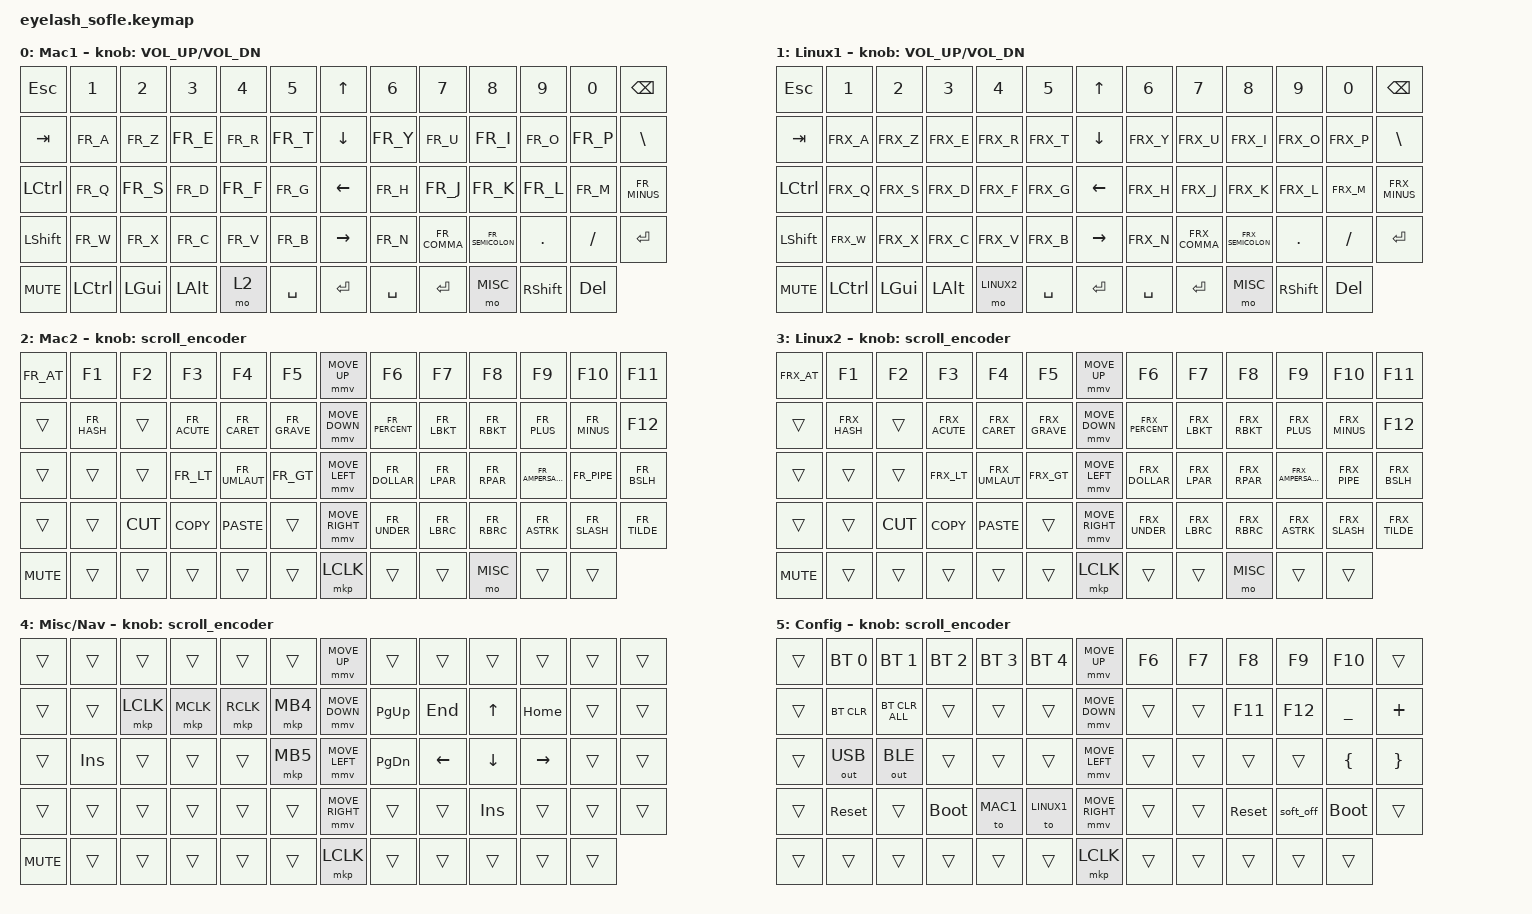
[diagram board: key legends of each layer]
#define ZMK_POINTING_DEFAULT_MOVE_VAL 1200  // 600
#define ZMK_POINTING_DEFAULT_SCRL_VAL 25   // 10

#include "keys_fr_belgian_period_mac.h"
#include "keys_fr_belgian_period_linux.h"
#include <input/processors.dtsi>
#include <zephyr/dt-bindings/input/input-event-codes.h>
#include <behaviors.dtsi>
#include <dt-bindings/zmk/bt.h>
#include <dt-bindings/zmk/keys.h>
#include <dt-bindings/zmk/outputs.h>
#include <dt-bindings/zmk/pointing.h>
#include <dt-bindings/zmk/rgb.h>

&mmv_input_listener { input-processors = <&zip_xy_scaler 2 1>; };

&msc_input_listener { input-processors = <&zip_scroll_scaler 2 1>; };

#define MAC1   0
#define LINUX1 1
#define MAC2   2
#define LINUX2 3
#define MISC   4
#define CONFIG 5

&msc {
    acceleration-exponent = <1>;      // 0
    time-to-max-speed-ms = <100>;       // 300
    delay-ms = <0>;                   // 0
};

&mmv {
    time-to-max-speed-ms = <500>;
    acceleration-exponent = <1>;
    trigger-period-ms = <16>;
};

&soft_off { hold-time-ms = <2000>; };

/ {
    scroll_encoder: scroll_encoder {
        compatible = "zmk,behavior-sensor-rotate";
        #sensor-binding-cells = <0>;
        bindings = <&msc SCRL_DOWN>, <&msc SCRL_UP>;

        tap-ms = <100>;
    };

    behaviors {
    };

    combos {
        compatible = "zmk,combos";

        softoff {
            bindings = <&soft_off>;
            key-positions = <14 28 40>;
        };
    };

    // don't know whyt it's here
    macros {
        SHIFT_MCLK: SHIFT_MCLK {
            compatible = "zmk,behavior-macro";
            #binding-cells = <0>;
            bindings =
                <&macro_press>,
                <&kp LEFT_SHIFT>,
                <&macro_press>,
                <&mkp MB3>,
                <&macro_pause_for_release>,
                <&macro_release>,
                <&kp LEFT_SHIFT &mkp MB3>;

            label = "SHIFT_MCLK";
        };
    };

    // add conditional layers to switch mac to windows/linux
    conditional_layers {
        compatible = "zmk,conditional-layers";

        config_layer_1 {
            if-layers = <MAC2 MISC>;
            then-layer = <CONFIG>;
        };

        config_layer_2 {
            if-layers = <LINUX2 MISC>;
            then-layer = <CONFIG>;
        };
    };

    keymap {
        compatible = "zmk,keymap";

        // ------------------------------------------------------------------------------------------------------------
        // |   @   |  1  |  2  |  3   |  4   |  5   |   *   |  6   |  7    |  8    |  9   |   0   |  BACKSPACE |
        // |  ESC  |  A  |  Z  |  E   |  R   |  T   |   *   |  Y   |  U    |  I    |  O   |   P   |   DELETE   |
        // |  TAB  |  Q  |  S  |  D   |  F   |  G   |   *   |  H   |  J    |  K    |  L   |   M   |     -      |
        // | SHIFT |  W  |  X  |  C   |  V   |  B   |   *   |  N   |  ,    |  ,    |  .   |   /   |   ENTER    |

        mac1 {
            bindings = <
            &kp ESC     &kp N1     &kp N2        &kp N3        &kp N4     &kp N5       &kp UP_ARROW     &kp N6     &kp N7         &kp N8            &kp N9           &kp N0      &kp BACKSPACE
            &kp TAB     &kp FR_A   &kp FR_Z      &kp FR_E      &kp FR_R   &kp FR_T     &kp DOWN_ARROW   &kp FR_Y   &kp FR_U       &kp FR_I          &kp FR_O         &kp FR_P    &kp BSLH
            &kp LCTRL   &kp FR_Q   &kp  FR_S     &kp FR_D      &kp FR_F   &kp FR_G     &kp LEFT_ARROW   &kp FR_H   &kp FR_J       &kp FR_K          &kp FR_L         &kp FR_M    &kp FR_MINUS
            &kp LSHFT   &kp FR_W   &kp FR_X      &kp FR_C      &kp FR_V   &kp FR_B     &kp RIGHT_ARROW  &kp FR_N   &kp FR_COMMA   &kp FR_SEMICOLON  &kp DOT          &kp FSLH    &kp ENTER
            &kp C_MUTE  &kp LCTRL  &kp LEFT_GUI  &kp LEFT_ALT  &mo 2      &kp SPACE    &kp ENTER        &kp SPACE  &kp ENTER      &mo MISC          &kp RIGHT_SHIFT  &kp DELETE
            >;
            
            display-name = "Mac1";
            sensor-bindings = <&inc_dec_kp C_VOLUME_UP C_VOL_DN>;
        };

        linux1 {
            bindings = <
            &kp ESC     &kp N1      &kp N2         &kp N3         &kp N4      &kp N5        &kp UP_ARROW     &kp N6      &kp N7          &kp N8             &kp N9            &kp N0       &kp BACKSPACE
            &kp TAB     &kp FRX_A   &kp FRX_Z      &kp FRX_E      &kp FRX_R   &kp FRX_T     &kp DOWN_ARROW   &kp FRX_Y   &kp FRX_U       &kp FRX_I          &kp FRX_O         &kp FRX_P    &kp BSLH
            &kp LCTRL   &kp FRX_Q   &kp  FRX_S     &kp FRX_D      &kp FRX_F   &kp FRX_G     &kp LEFT_ARROW   &kp FRX_H   &kp FRX_J       &kp FRX_K          &kp FRX_L         &kp FRX_M    &kp FRX_MINUS
            &kp LSHFT   &kp FRX_W   &kp FRX_X      &kp FRX_C      &kp FRX_V   &kp FRX_B     &kp RIGHT_ARROW  &kp FRX_N   &kp FRX_COMMA   &kp FRX_SEMICOLON  &kp DOT           &kp FSLH     &kp ENTER
            &kp C_MUTE  &kp LCTRL   &kp LEFT_GUI   &kp LEFT_ALT   &mo LINUX2  &kp SPACE     &kp ENTER        &kp SPACE   &kp ENTER       &mo MISC           &kp RIGHT_SHIFT   &kp DELETE
            >;
            
            display-name = "Linux1";
            sensor-bindings = <&inc_dec_kp C_VOLUME_UP C_VOL_DN>;
        };

        mac2 {
            bindings = <
            &kp FR_AT   &kp F1       &kp F2     &kp F3        &kp F4         &kp F5        &mmv MOVE_UP     &kp F6          &kp F7       &kp F8       &kp F9            &kp F10       &kp F11
            &trans      &kp FR_HASH  &trans   &kp FR_ACUTE  &kp FR_CARET   &kp FR_GRAVE  &mmv MOVE_DOWN   &kp FR_PERCENT  &kp FR_LBKT  &kp FR_RBKT  &kp FR_PLUS       &kp FR_MINUS  &kp F12
            &trans      &trans       &trans     &kp FR_LT     &kp FR_UMLAUT  &kp FR_GT     &mmv MOVE_LEFT   &kp FR_DOLLAR   &kp FR_LPAR  &kp FR_RPAR  &kp FR_AMPERSAND  &kp FR_PIPE   &kp FR_BSLH
            &trans      &trans       &kp K_CUT  &kp K_COPY    &kp K_PASTE    &trans        &mmv MOVE_RIGHT  &kp FR_UNDER    &kp FR_LBRC  &kp FR_RBRC  &kp FR_ASTRK      &kp FR_SLASH  &kp FR_TILDE
            &kp C_MUTE  &trans       &trans     &trans        &trans         &trans        &mkp LCLK        &trans          &trans       &mo MISC     &trans            &trans
            >;
            
            display-name = "Mac2";
            sensor-bindings = <&scroll_encoder>;
        };

        linux2 {
            bindings = <
            &kp FRX_AT   &kp F1      &kp F2     &kp F3         &kp F4         &kp F5         &mmv MOVE_UP     &kp F6           &kp F7        &kp F8        &kp F9             &kp F10        &kp F11
            &trans       &kp FRX_HASH &trans  &kp FRX_ACUTE  &kp FRX_CARET  &kp FRX_GRAVE  &mmv MOVE_DOWN   &kp FRX_PERCENT  &kp FRX_LBKT  &kp FRX_RBKT  &kp FRX_PLUS       &kp FRX_MINUS  &kp F12
            &trans       &trans       &trans     &kp FRX_LT     &kp FRX_UMLAUT &kp FRX_GT     &mmv MOVE_LEFT   &kp FRX_DOLLAR   &kp FRX_LPAR  &kp FRX_RPAR  &kp FRX_AMPERSAND  &kp FRX_PIPE   &kp FRX_BSLH
            &trans       &trans       &kp K_CUT  &kp K_COPY     &kp K_PASTE    &trans         &mmv MOVE_RIGHT  &kp FRX_UNDER    &kp FRX_LBRC  &kp FRX_RBRC  &kp FRX_ASTRK      &kp FRX_SLASH  &kp FRX_TILDE
            &kp C_MUTE   &trans       &trans     &trans         &trans         &trans         &mkp LCLK        &trans           &trans        &mo MISC      &trans             &trans
            >;
            
            display-name = "Linux2";
            sensor-bindings = <&scroll_encoder>;
        };

        misc {
            display-name = "Misc/Nav";
            bindings = <
            &trans      &trans        &trans          &trans          &trans         &trans       &mmv MOVE_UP     &trans         &trans      &trans      &trans     &trans      &trans
            &trans      &trans        &mkp LCLK       &mkp MCLK       &mkp RCLK      &mkp MB4     &mmv MOVE_DOWN   &kp PG_UP      &kp END     &kp UP      &kp HOME   &trans      &trans
            &trans      &kp INSERT    &trans          &trans          &trans         &mkp MB5     &mmv MOVE_LEFT   &kp PG_DN      &kp LEFT    &kp DOWN    &kp RIGHT  &trans      &trans
            &trans      &trans        &trans          &trans          &trans         &trans       &mmv MOVE_RIGHT  &trans         &trans      &kp INSERT  &trans     &trans      &trans
            &kp C_MUTE  &trans        &trans          &trans          &trans         &trans       &mkp LCLK        &trans         &trans      &trans      &trans     &trans
            >;

            sensor-bindings = <&scroll_encoder>;
        };

        config_layer {
            bindings = <
&trans  &bt BT_SEL 0  &bt BT_SEL 1    &bt BT_SEL 2  &bt BT_SEL 3  &bt BT_SEL 4    &mmv MOVE_UP     &kp F6  &kp F7  &kp F8      &kp F9     &kp F10      &trans
&trans  &bt BT_CLR    &bt BT_CLR_ALL  &trans        &trans        &trans          &mmv MOVE_DOWN   &trans  &trans  &kp F11     &kp F12    &kp UNDER    &kp PLUS
&trans  &out OUT_USB  &out OUT_BLE    &trans        &trans        &trans          &mmv MOVE_LEFT   &trans  &trans  &trans      &trans     &kp LBRC     &kp RBRC
&trans  &sys_reset    &trans          &bootloader   &to MAC1      &to LINUX1      &mmv MOVE_RIGHT  &trans  &trans  &sys_reset  &soft_off  &bootloader  &trans
&trans  &trans        &trans          &trans        &trans        &trans          &mkp LCLK        &trans  &trans  &trans      &trans     &trans
            >;

            display-name = "Config";
            sensor-bindings = <&scroll_encoder>;
        };
    };
};
